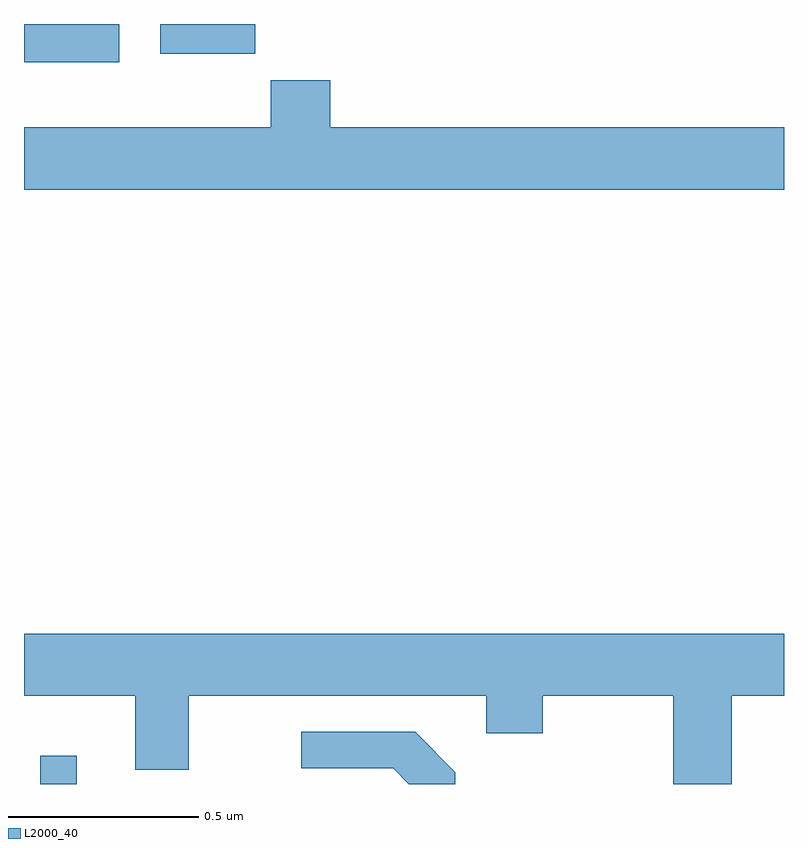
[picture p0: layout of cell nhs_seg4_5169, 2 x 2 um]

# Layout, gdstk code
import gdstk
lib = gdstk.Library(unit=1e-6, precision=1e-09)
def R(c, l, rs):  # rectangles x0, y0, x1, y1
    for r in rs: c.add(gdstk.rectangle(r[:2], r[2:], *l))
def P(c, l, *ps):  # polygons
    for p in ps: c.add(gdstk.Polygon(p, *l))
L2000_40 = (2000, 40)

nhs_seg4_5169 = lib.new_cell('nhs_seg4_5169')
R(nhs_seg4_5169, L2000_40, [(174.043,817.9,174.139,817.975), (174,819.8,174.25,819.9), (174.359,819.822,174.608,819.9)])
P(nhs_seg4_5169, L2000_40, [(176,819.628),(174.806,819.628),(174.806,819.752),(174.649,819.752),(174.649,819.628),(174,819.628),(174,819.464),(176,819.464)],
  [(175.862,818.132),(176,818.132),(176,818.296),(174,818.296),(174,818.132),(174.293,818.132),(174.293,817.938),(174.433,817.938),(174.433,818.132),(175.217,818.132),(175.217,818.033),(175.365,818.033),(175.365,818.132),(175.709,818.132),(175.709,817.9),(175.862,817.9)],
  [(175.135,817.931),(175.029,818.037),(174.729,818.037),(174.729,817.941),(174.972,817.941),(175.013,817.9),(175.135,817.9)])

lib.write_gds('nhs_seg4_5169.gds')
